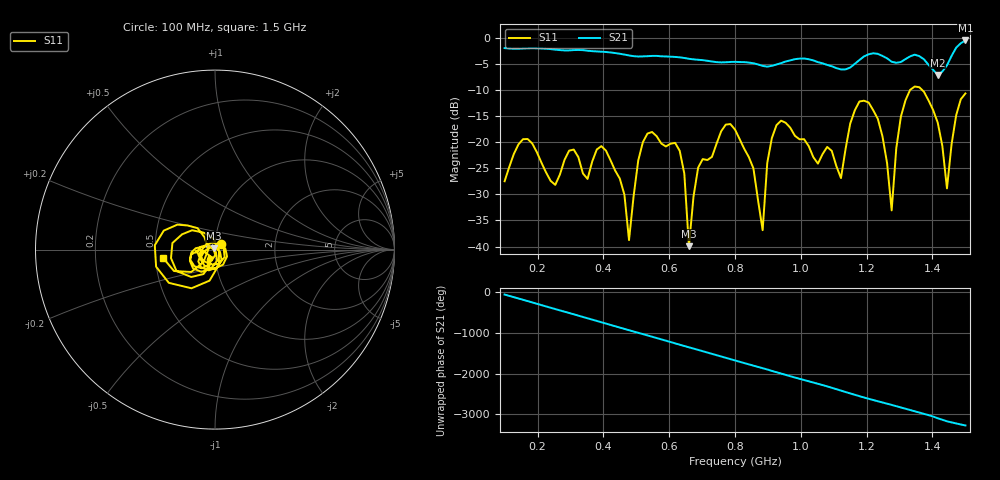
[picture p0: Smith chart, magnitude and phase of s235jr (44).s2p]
! NanoVNA-App
! Date: 2025-09-25 15:04:30
! Start: 100MHz Stop: 1,5GHz Points: 101
! S-Parameter data: F S11 S21 S12 S22
# Hz S RI R 50
!  Frequency  S11_Real  S11_Imag  S21_Real  S21_Imag  S12_Real  S12_Imag  S22_Real  S22_Imag
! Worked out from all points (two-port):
!   101 points, 100 MHz to 1.5 GHz, reference 50 ohm
!   highest |S21| = -0.50 dB at 1.5 GHz (marker M1); lowest = -7.1 dB at 1.416 GHz (marker M2)
!   |S21| within 3 dB of the highest: start of sweep to 491 MHz; 1.194 GHz to 1.249 GHz (55.06 MHz wide, 4.51 % of centre) (the widest 2 of 5)
!   lowest |S11| = -39.9 dB at 660 MHz (marker M3), VSWR 1.02, Z = 49.2 + j0.615 ohm
!   |S11| at or under -10 dB: start of sweep to 1.332 GHz; 1.369 GHz to end of sweep
!   S12 and S22 are empty: the file has one direction only
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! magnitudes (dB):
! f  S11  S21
! 100 MHz  -27.5  -2.0
! 156 MHz  -19.4  -2.0
! 338 MHz  -26.0  -2.4
! 408 MHz  -21.6  -2.7
! 478 MHz  -38.8  -3.4
! 520 MHz  -20.0  -3.6
! 576 MHz  -20.3  -3.5
! 632 MHz  -21.6  -3.7
! 660 MHz  -39.9  -4.0
! 688 MHz  -24.9  -4.2
! 800 MHz  -17.6  -4.6
! 884 MHz  -36.9  -5.4
! 926 MHz  -16.7  -5.1
! 1.038 GHz  -22.9  -4.3
! 1.122 GHz  -26.9  -6.1
! 1.206 GHz  -12.4  -3.2
! 1.276 GHz  -33.1  -4.6
! 1.304 GHz  -15.1  -4.6
! 1.332 GHz  -10.0  -3.6
! 1.416 GHz  -16.3  -7.1
! 1.444 GHz  -28.9  -5.3
! 1.5 GHz  -10.7  -0.5
